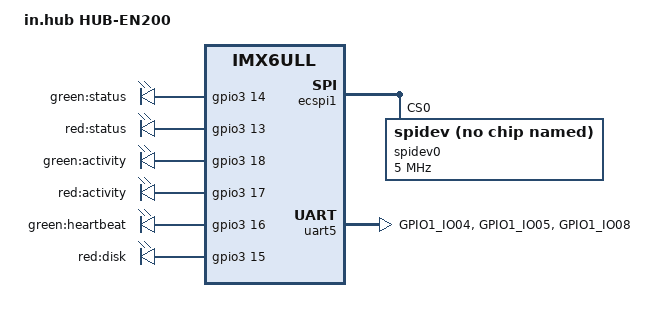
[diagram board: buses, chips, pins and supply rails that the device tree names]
// SPDX-License-Identifier: GPL-2.0-only
/*
 * Copyright 2025 in.hub GmbH
 */

/dts-v1/;

#include "imx6ull-inhub-emmc.dtsi"
#include "imx6ull-inhub-lan8831.dtsi"

/ {
	model = "in.hub HUB-EN200";
	compatible = "inhub,hub-en200", "fsl,imx6ull";

	aliases {
		mmc0 = &usdhc2;
	};

	leds {
		compatible = "gpio-leds";
		pinctrl-names = "default";
		pinctrl-0 = <&pinctrl_leds>;

		led_green_status: green-status {
			label = "green:status";
			gpios = <&gpio3 14 0x0>;
			default-state = "off";
		};

		led_red_status: red-status {
			label = "red:status";
			gpios = <&gpio3 13 0x0>;
			default-state = "off";
		};

		led_green_activity: green-activity {
			label = "green:activity";
			gpios = <&gpio3 18 0x0>;
			default-state = "off";
		};

		led_red_activity: red-activity {
			label = "red:activity";
			gpios = <&gpio3 17 0x0>;
			default-state = "off";
		};

		led_green_heartbeat: green-heartbeat {
			label = "green:heartbeat";
			gpios = <&gpio3 16 0x0>;
			linux,default-trigger = "timer";
		};

		led_red_disk: red-disk {
			label = "red:disk";
			gpios = <&gpio3 15 0x0>;
			default-state = "off";
			linux,default-trigger = "mmc0";
		};
	};

};

/delete-node/ &adc1;

&iomuxc {
	pinctrl-0 = <&pinctrl_gpio2 &pinctrl_gpio3 &pinctrl_gpio4 &pinctrl_gpio5 &pinctrl_gpio6 &pinctrl_usb2_ctrl>;

	/delete-node/ adc1grp;
	/delete-node/ usdhc2-grp;
	/delete-node/ uart5-grp;

	pinctrl_uart5: uart5grp {
		fsl,pins = <
			MX6UL_PAD_GPIO1_IO04__UART5_DTE_RX	0x1b0b1 /* SODIMM 19 */
			MX6UL_PAD_GPIO1_IO05__UART5_DTE_TX	0x1b0b1 /* SODIMM 21 */
			MX6UL_PAD_GPIO1_IO08__UART5_DTE_CTS	0x1b0b1 /* SODIMM 4 */
		>;
	};

	pinctrl_usb2_ctrl: usb2ctrlgrp {
		fsl,pins = <
			MX6UL_PAD_GPIO1_IO03__GPIO1_IO03 0x000050B0 /* SODIMM 89 */
		>;
	};

	pinctrl_leds: ledsgrp {
		fsl,pins = <
			MX6UL_PAD_LCD_DATA11__GPIO3_IO16	0x74 /* LED1G */
			MX6UL_PAD_LCD_DATA10__GPIO3_IO15	0x74 /* LED1R */
			MX6UL_PAD_LCD_DATA13__GPIO3_IO18	0x74 /* LED2G */
			MX6UL_PAD_LCD_DATA12__GPIO3_IO17	0x74 /* LED2R */
			MX6UL_PAD_LCD_DATA09__GPIO3_IO14	0x74 /* LED3G */
			MX6UL_PAD_LCD_DATA08__GPIO3_IO13	0x74 /* LED3R */
		>;
	};
};

&ecspi1 {
	status = "okay";

	spidev0: spi@0 {
		compatible = "spidev";
		reg = <0>;
		spi-max-frequency = <5000000>;
	};
};

&uart5 {
	pinctrl-names = "default";
	pinctrl-0 = <&pinctrl_uart5>;
	linux,rs485-enabled-at-boot-time;
	uart-has-rtscts;
	status = "okay";
};
